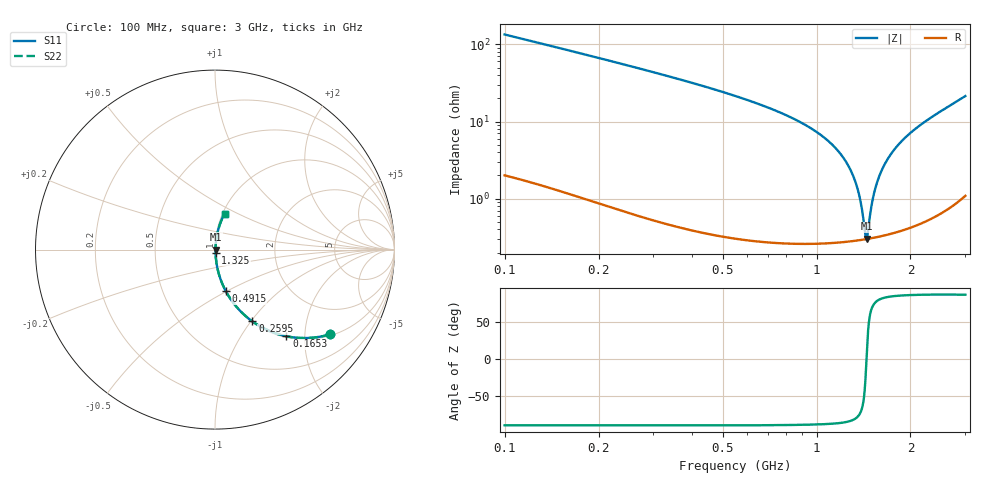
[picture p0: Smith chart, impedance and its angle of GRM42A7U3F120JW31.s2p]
!Murata Part Number: GRM42A7U3F120JW31
!These Parameters are Measured in Series Mode Connection
!Data Generated on Mar 30, 2021
!  o--ll--o
!Port1  Port2
!  o------o
!Operation Temp=25[degC], DC Bias Voltage=0[V]
!Freq. Start=100[MHz] Stop=3[GHz] 401[Steps]
# Hz S RI R 50
!Freq.(Hz) S11(Real) S11(Imag) S21(Real) S21(Imag) S12(Real) S12(Imag) S22(Real) S22(Imag)
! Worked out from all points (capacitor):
!   401 points, 100 MHz to 3 GHz, reference 50 ohm
!   read as one part in series: C = 11.7 pF near 114.5 MHz
!   lowest |Z| = 303 mohm at 1.448 GHz (marker M1)
!   series resonance near 1.446 GHz, so ESL is about 1 nH
!   S11 on the Smith chart (normalised r, x): 100 MHz: 1.04, -2.68; 165.2 MHz: 1.02, -1.62; 259.5 MHz: 1.01, -1.02; 491.5 MHz: 1.01, -0.49; 1.325 GHz: 1.01, -0.03; 3 GHz: 1.02, +0.43
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1e8  0.6405 -0.4724  0.3595 0.4724  0.3595 0.4724  0.6405 -0.4724
1.6525e8  0.3974 -0.4825  0.6026 0.4825  0.6026 0.4825  0.3974 -0.4825
2.595e8  0.2079 -0.3997  0.7921 0.3997  0.7921 0.3997  0.2079 -0.3997
3.5375e8  0.1193 -0.3182  0.8807 0.3182  0.8807 0.3182  0.1193 -0.3182
4.915e8  0.0601 -0.2312  0.9399 0.2312  0.9399 0.2312  0.0601 -0.2312
5.8575e8  0.0397 -0.188  0.9603 0.188  0.9603 0.188  0.0397 -0.188
1.0715e9  0.00611 -0.0588  0.9939 0.0588  0.9939 0.0588  0.00611 -0.0588
1.22375e9  0.00382 -0.0328  0.9962 0.0328  0.9962 0.0328  0.00382 -0.0328
1.32525e9  0.00313 -0.0172  0.9969 0.0172  0.9969 0.0172  0.00313 -0.0172
1.376e9  0.00299 -0.0098  0.997 0.0098  0.997 0.0098  0.00299 -0.0098
1.39775e9  0.00297 -0.00669  0.997 0.00669  0.997 0.00669  0.00297 -0.00669
1.434e9  0.00298 -0.0016  0.997 0.0016  0.997 0.0016  0.00298 -0.0016
1.4485e9  0.00299 0.000413  0.997 -0.000413  0.997 -0.000413  0.00299 0.000413
1.463e9  0.00302 0.00241  0.997 -0.00241  0.997 -0.00241  0.00302 0.00241
1.5065e9  0.00315 0.00832  0.9969 -0.00832  0.9969 -0.00832  0.00315 0.00832
1.55e9  0.00335 0.0141  0.9967 -0.0141  0.9967 -0.0141  0.00335 0.0141
1.6225e9  0.00383 0.0236  0.9962 -0.0236  0.9962 -0.0236  0.00383 0.0236
1.724e9  0.00481 0.0364  0.9952 -0.0364  0.9952 -0.0364  0.00481 0.0364
1.86175e9  0.00667 0.0534  0.9933 -0.0534  0.9933 -0.0534  0.00667 0.0534
2.03575e9  0.0099 0.0744  0.9901 -0.0744  0.9901 -0.0744  0.0099 0.0744
2.5215e9  0.0249 0.1341  0.9751 -0.1341  0.9751 -0.1341  0.0249 0.1341
3e9  0.053 0.2  0.947 -0.2  0.947 -0.2  0.053 0.2
